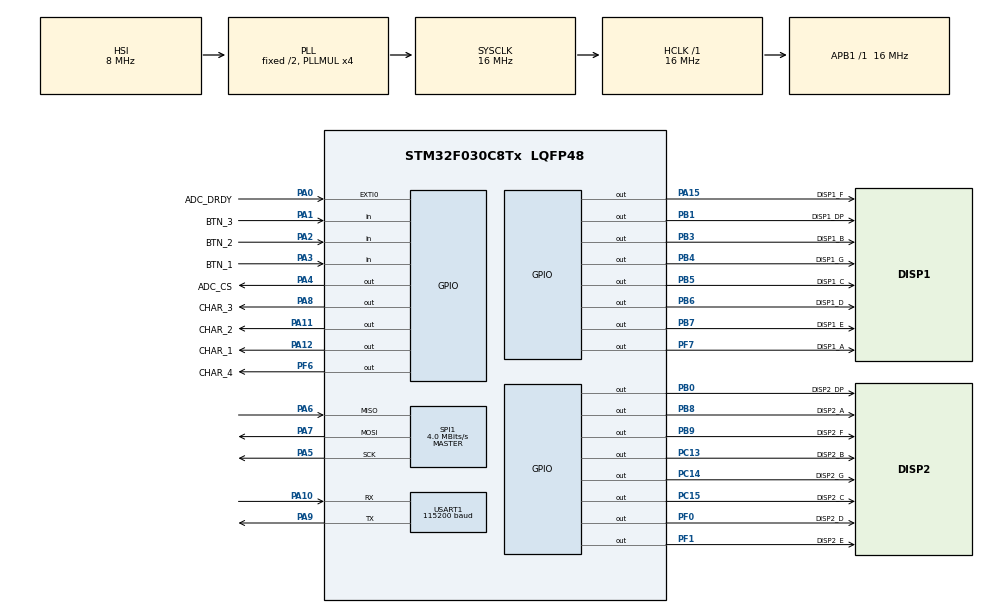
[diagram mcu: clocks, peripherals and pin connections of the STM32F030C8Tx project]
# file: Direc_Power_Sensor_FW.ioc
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Dma.Request0=USART1_RX
Dma.USART1_RX.0.Direction=DMA_PERIPH_TO_MEMORY
Dma.USART1_RX.0.Instance=DMA1_Channel3
Dma.USART1_RX.0.MemDataAlignment=DMA_MDATAALIGN_BYTE
Dma.USART1_RX.0.MemInc=DMA_MINC_ENABLE
Dma.USART1_RX.0.Mode=DMA_NORMAL
Dma.USART1_RX.0.PeriphDataAlignment=DMA_PDATAALIGN_BYTE
Dma.USART1_RX.0.PeriphInc=DMA_PINC_DISABLE
Dma.USART1_RX.0.Priority=DMA_PRIORITY_LOW
Mcu.Family=STM32F0
Mcu.Name=STM32F030C8Tx
Mcu.Package=LQFP48
NVIC.DMA1_Channel2_3_IRQn=true\:0\:0\:false\:false\:true\:false\:true\:true
NVIC.EXTI0_1_IRQn=true\:0\:0\:false\:false\:true\:true\:true\:true
NVIC.TIM1_BRK_UP_TRG_COM_IRQn=true\:0\:0\:false\:false\:true\:true\:true\:true
NVIC.TIM1_CC_IRQn=true\:0\:0\:false\:false\:true\:true\:true\:true
NVIC.USART1_IRQn=true\:0\:0\:false\:false\:true\:true\:true\:true
PA0.GPIO_Label=ADC_DRDY
PA0.GPIO_PuPd=GPIO_PULLUP
PA0.Signal=GPXTI0
PA1.GPIO_Label=BTN_3
PA1.GPIO_PuPd=GPIO_PULLDOWN
PA1.Signal=GPIO_Input
PA10.Mode=Asynchronous
PA10.Signal=USART1_RX
PA11.GPIO_Label=CHAR_2
PA11.Signal=GPIO_Output
PA12.GPIO_Label=CHAR_1
PA12.Signal=GPIO_Output
PA13.Mode=Serial_Wire
PA13.Signal=SYS_SWDIO
PA14.Mode=Serial_Wire
PA14.Signal=SYS_SWCLK
PA15.GPIO_Label=DISP1_F
PA15.Signal=GPIO_Output
PA2.GPIO_Label=BTN_2
PA2.GPIO_PuPd=GPIO_PULLDOWN
PA2.Signal=GPIO_Input
PA3.GPIO_Label=BTN_1
PA3.GPIO_PuPd=GPIO_PULLDOWN
PA3.Signal=GPIO_Input
PA4.GPIO_Label=ADC_CS
PA4.GPIO_Speed=GPIO_SPEED_FREQ_LOW
PA4.Signal=GPIO_Output
PA5.Mode=Full_Duplex_Master
PA5.Signal=SPI1_SCK
PA6.Mode=Full_Duplex_Master
PA6.Signal=SPI1_MISO
PA7.Mode=Full_Duplex_Master
PA7.Signal=SPI1_MOSI
PA8.GPIO_Label=CHAR_3
PA8.Signal=GPIO_Output
PA9.Mode=Asynchronous
PA9.Signal=USART1_TX
PB0.GPIO_Label=DISP2_DP
PB0.Signal=GPIO_Output
PB1.GPIO_Label=DISP1_DP
PB1.Signal=GPIO_Output
PB3.GPIO_Label=DISP1_B
PB3.Signal=GPIO_Output
PB4.GPIO_Label=DISP1_G
PB4.Signal=GPIO_Output
PB5.GPIO_Label=DISP1_C
PB5.Signal=GPIO_Output
PB6.GPIO_Label=DISP1_D
PB6.Signal=GPIO_Output
PB7.GPIO_Label=DISP1_E
PB7.Signal=GPIO_Output
PB8.GPIO_Label=DISP2_A
PB8.Signal=GPIO_Output
PB9.GPIO_Label=DISP2_F
PB9.Signal=GPIO_Output
PC13.GPIO_Label=DISP2_B
PC13.Signal=GPIO_Output
PC14-OSC32_IN.GPIO_Label=DISP2_G
PC14-OSC32_IN.Signal=GPIO_Output
PC15-OSC32_OUT.GPIO_Label=DISP2_C
PC15-OSC32_OUT.Signal=GPIO_Output
PF0-OSC_IN.GPIO_Label=DISP2_D
PF0-OSC_IN.Signal=GPIO_Output
PF1-OSC_OUT.GPIO_Label=DISP2_E
PF1-OSC_OUT.Signal=GPIO_Output
PF6.GPIO_Label=CHAR_4
PF6.Signal=GPIO_Output
PF7.GPIO_Label=DISP1_A
PF7.Signal=GPIO_Output
ProjectManager.HeapSize=0x200
ProjectManager.StackSize=0x400
ProjectManager.TargetToolchain=Makefile
RCC.AHBFreq_Value=16000000
RCC.APB1Freq_Value=16000000
RCC.APB1TimFreq_Value=16000000
RCC.HCLKFreq_Value=16000000
RCC.PLLMUL=RCC_PLL_MUL4
RCC.SYSCLKFreq_VALUE=16000000
RCC.SYSCLKSource=RCC_SYSCLKSOURCE_PLLCLK
SPI1.BaudRatePrescaler=SPI_BAUDRATEPRESCALER_4
SPI1.CalculateBaudRate=4.0 MBits/s
SPI1.DataSize=SPI_DATASIZE_8BIT
SPI1.Direction=SPI_DIRECTION_2LINES
SPI1.Mode=SPI_MODE_MASTER
SPI1.VirtualType=VM_MASTER
TIM1.Period=319
USART1.BaudRate=115200
USART1.VirtualMode-Asynchronous=VM_ASYNC
VP_TIM1_VS_ClockSourceINT.Mode=Internal
board=custom

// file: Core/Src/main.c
/* USER CODE BEGIN Header */
/**
  ******************************************************************************
  * @file           : main.c
  * @brief          : Main program body
  ******************************************************************************
  * @attention
  *
  * Copyright (c) 2025 STMicroelectronics.
  * All rights reserved.
  *
  * This software is licensed under terms that can be found in the LICENSE file
  * in the root directory of this software component.
  * If no LICENSE file comes with this software, it is provided AS-IS.
  *
  ******************************************************************************
  */
/* USER CODE END Header */
#include "main.h"
#include "dma.h"
#include "spi.h"
#include "tim.h"
#include "usart.h"
#include "gpio.h"

/* USER CODE BEGIN Includes */
#include "ads1220.h"
#include "ee.h"
#include "eeConfig.h"
#include "printf.h"
#include <stdbool.h>
#include <stdlib.h>
#include <string.h>
/* USER CODE END Includes */

/* USER CODE BEGIN PTD */

typedef struct cal_point_struct {
  float reading;
  float value;
} CalPoint_t;

enum cal_state_enum {
  CAL_DEFAULT,
  CAL_IN_PROGRESS,
  CAL_GOOD
};

/* USER CODE END PTD */

/* USER CODE BEGIN PD */

#define DISP_CHAR_COUNT     4
#define DISP_STR_LEN        5

#define RNG_SEL_LOW         0
#define RNG_SEL_HIGH        1

#define RFL_PWR_LO_RNG_MUX  ADS1220_MUX_P0_NVSS
#define RFL_PWR_HI_RNG_MUX  ADS1220_MUX_P1_NVSS
#define FWD_PWR_LO_RNG_MUX  ADS1220_MUX_P2_NVSS
#define FWD_PWR_HI_RNG_MUX  ADS1220_MUX_P3_NVSS

#define ADC_INIT_MUX_SET    RFL_PWR_LO_RNG_MUX

/* Set up for 20 SPS, which allows the 50/60 Hz FIR filter to be used */
#define ADC_INIT_CONFIG   \
  ((ADC_INIT_MUX_SET << 24) | \
  ((ADS1220_MODE_NORMAL | ADS1220_DR_0) << 16) | \
  (ADS1220_VREF_EXT << 8) | (ADS1220_FIR_50_60))

#define VREF_IDEAL          4.096

#define ADC_RDG_MAX         3.85
#define RNG_SEL_HYST        0.05
#define CAL_POINTS          26
#define FLASH_FLAG          0xA5A5A5A5
#define UART_RX_WORD_SIZE   4
#define UART_BEGIN_CAL      0x12345678
#define UART_CAL_FWD_LO     0x11111111
#define UART_CAL_FWD_HI     0x22222222
#define UART_CAL_RFL_LO     0x33333333
#define UART_CAL_RFL_HI     0x44444444
#define UART_SAVE_CAL       0xDEADBEEF
/* USER CODE END PD */

/* USER CODE BEGIN PV */

static const uint8_t seven_seg_lut[12][7] = {
  {1,1,1,1,1,1,0}, // 0
  {0,1,1,0,0,0,0}, // 1
  {1,1,0,1,1,0,1}, // 2
  {1,1,1,1,0,0,1}, // 3
  {0,1,1,0,0,1,1}, // 4
  {1,0,1,1,0,1,1}, // 5
  {1,0,1,1,1,1,1}, // 6
  {1,1,1,0,0,0,0}, // 7
  {1,1,1,1,1,1,1}, // 8
  {1,1,1,1,0,1,1}, // 9
  {0,0,0,0,0,0,0}, // blank
  {0,0,0,0,0,0,1}  // -
};

uint8_t disp_char_sel = 0;
uint8_t disp1_str_ind = 0;
uint8_t disp2_str_ind = 0;
uint8_t disp_1_str[DISP_STR_LEN + 1] = {};
uint8_t disp_2_str[DISP_STR_LEN + 1] = {};
uint8_t disp_1_values[DISP_CHAR_COUNT] = {0};
uint8_t disp_2_values[DISP_CHAR_COUNT] = {0};
bool update_disp_vals = false;

Ads1220_t adc;
bool adc_drdy_flag = false;
uint8_t last_adc_mux = ADC_INIT_MUX_SET;
uint8_t fwd_rng_sel = RNG_SEL_LOW;
uint8_t rfl_rng_sel = RNG_SEL_LOW;
float fwd_hi_det_offset = 0.02;
float fwd_lo_det_offset = 0.02;
float rfl_hi_det_offset = 0.02;
float rfl_lo_det_offset = 0.02;

uint8_t cal_state = CAL_DEFAULT;
int cal_step = 0;
CalPoint_t cal_data_tmp[CAL_POINTS];
CalPoint_t fwd_hi_rng_cal[CAL_POINTS];
CalPoint_t fwd_lo_rng_cal[CAL_POINTS];
CalPoint_t rfl_hi_rng_cal[CAL_POINTS];
CalPoint_t rfl_lo_rng_cal[CAL_POINTS];
uint8_t uart_data[UART_RX_WORD_SIZE];

float fwd_hi_rng_v = 0.0;
float fwd_lo_rng_v = 0.0;
float rfl_hi_rng_v = 0.0;
float rfl_lo_rng_v = 0.0;
float fwd_pwr = 0.0;
float rfl_pwr = 0.0;
float vswr = 0.0;
float dir_coupler_factor = 900.0; // 30 turns, 29.54...dB

/* USER CODE END PV */

void SystemClock_Config(void);
/* USER CODE BEGIN PFP */

void set_adc_cs(int state);
void set_disp_1_pins(int value, bool dp_on);
void set_disp_2_pins(int value, bool dp_on);
void select_disp_char(int sel);
float get_cal_power(float value, CalPoint_t* cal_data);

/* USER CODE END PFP */

int main(void)
{

  /* MCU Configuration--------------------------------------------------------*/

  /* Reset of all peripherals, Initializes the Flash interface and the Systick. */
  HAL_Init();

  /* Configure the system clock */
  SystemClock_Config();

  /* Initialize all configured peripherals */
  MX_GPIO_Init();
  MX_DMA_Init();
  MX_SPI1_Init();
  MX_USART1_UART_Init();
  MX_TIM1_Init();
  /* USER CODE BEGIN 2 */

  // init pins to stable state
  HAL_GPIO_WritePin(ADC_CS_GPIO_Port, ADC_CS_Pin, 1);

  HAL_GPIO_WritePin(CHAR_1_GPIO_Port, CHAR_1_Pin, 0);
  HAL_GPIO_WritePin(CHAR_2_GPIO_Port, CHAR_2_Pin, 0);
  HAL_GPIO_WritePin(CHAR_3_GPIO_Port, CHAR_3_Pin, 0);
  HAL_GPIO_WritePin(CHAR_4_GPIO_Port, CHAR_4_Pin, 0);

  /* See if flash has data in it. */
  ee_init();
  uint32_t flag = 0;
  uint32_t addr = 0;
  ee_read(addr, 4, (uint8_t*)&flag);
  if (flag == FLASH_FLAG) {
    /* Retrieve calibration from flash */

    cal_state = CAL_GOOD;
  } else {
    /* write some default calibration values to ram */
    float voltage = 0.0;
    float v_step = ADC_RDG_MAX / (CAL_POINTS - 1);
    for (int i = 0; i < CAL_POINTS; i++) {
      float power_tmp = 0.2579*voltage + 2.064e-4;
      fwd_lo_rng_cal[i].reading = voltage;
      fwd_lo_rng_cal[i].value = power_tmp;
      rfl_lo_rng_cal[i].reading = voltage;
      rfl_lo_rng_cal[i].value = power_tmp;
      voltage += 0.15;
    }
    voltage = 0.0;
    for (int i = 0; i < CAL_POINTS; i++) {
      float power_tmp = 29.71*voltage + 6.962e-2;
      fwd_hi_rng_cal[i].reading = voltage;
      fwd_hi_rng_cal[i].value = power_tmp;
      rfl_hi_rng_cal[i].reading = voltage;
      rfl_hi_rng_cal[i].value = power_tmp;
      voltage += 0.15;
    }
  }

  // ADC setup
  adc.vref = VREF_IDEAL;
  adc.hspi = &hspi1;
  adc.set_cs = set_adc_cs;
  ads_reset(&adc);
  HAL_Delay(10);
  ads_begin(&adc, ADC_INIT_CONFIG);
  HAL_Delay(2);
  ads_start_sync(&adc);

  HAL_TIM_Base_Start_IT(&htim1); // timer for flipping through the display characters

  HAL_UART_Receive_DMA(&huart1, uart_data, UART_RX_WORD_SIZE);

  /* USER CODE END 2 */

  /* Infinite loop */
  while (1)
  {

    /* USER CODE BEGIN 3 */

    if (adc_drdy_flag) {
      adc_drdy_flag = false;
      float adc_rdg = ads_get_voltage(&adc);

      uint8_t next_adc_mux = 0;
      switch(adc.mux_setting) {
        default: {
          next_adc_mux = ADC_INIT_MUX_SET;
          break;
        }
        case FWD_PWR_LO_RNG_MUX: {
          fwd_lo_rng_v = adc_rdg;
          next_adc_mux = FWD_PWR_HI_RNG_MUX;
          break;
        }
        case FWD_PWR_HI_RNG_MUX: {
          fwd_hi_rng_v = adc_rdg;
          next_adc_mux = RFL_PWR_LO_RNG_MUX;
          break;
        }
        case RFL_PWR_LO_RNG_MUX: {
          rfl_lo_rng_v = adc_rdg;
          next_adc_mux = RFL_PWR_HI_RNG_MUX;
          break;
        }
        case RFL_PWR_HI_RNG_MUX: {
          rfl_hi_rng_v = adc_rdg;
          update_disp_vals = true;
          next_adc_mux = FWD_PWR_LO_RNG_MUX;
          break;
        }
      }
      ads_set_input_mux(&adc, next_adc_mux);
      ads_start_sync(&adc);

      if (update_disp_vals) {
        // make decisions on which range to use for power computations
        if (fwd_rng_sel == RNG_SEL_LOW && fwd_lo_rng_v > (ADC_RDG_MAX + RNG_SEL_HYST)) {
          fwd_rng_sel = RNG_SEL_HIGH;
        }
        else if (fwd_rng_sel == RNG_SEL_HIGH && fwd_lo_rng_v < (ADC_RDG_MAX - RNG_SEL_HYST)) {
          fwd_rng_sel = RNG_SEL_LOW;
        }

        if (fwd_rng_sel == RNG_SEL_LOW) {
          fwd_pwr = dir_coupler_factor * get_cal_power(fwd_lo_rng_v - fwd_lo_det_offset, fwd_lo_rng_cal);
        }
        else {
          fwd_pwr = dir_coupler_factor * get_cal_power(fwd_hi_rng_v - fwd_hi_det_offset, fwd_hi_rng_cal);
        }

        // TODO: compute power and VSWR
        static char scratch[16];
        snprintf(scratch, 16, "%05.2f", fwd_pwr);
        update_disp_vals = false;
      }
    }

  }

  /* USER CODE END 3 */
}

void SystemClock_Config(void)
{
  RCC_OscInitTypeDef RCC_OscInitStruct = {0};
  RCC_ClkInitTypeDef RCC_ClkInitStruct = {0};
  RCC_PeriphCLKInitTypeDef PeriphClkInit = {0};

  /** Initializes the RCC Oscillators according to the specified parameters
  * in the RCC_OscInitTypeDef structure.
  */
  RCC_OscInitStruct.OscillatorType = RCC_OSCILLATORTYPE_HSI;
  RCC_OscInitStruct.HSIState = RCC_HSI_ON;
  RCC_OscInitStruct.HSICalibrationValue = RCC_HSICALIBRATION_DEFAULT;
  RCC_OscInitStruct.PLL.PLLState = RCC_PLL_ON;
  RCC_OscInitStruct.PLL.PLLSource = RCC_PLLSOURCE_HSI;
  RCC_OscInitStruct.PLL.PLLMUL = RCC_PLL_MUL4;
  RCC_OscInitStruct.PLL.PREDIV = RCC_PREDIV_DIV1;
  if (HAL_RCC_OscConfig(&RCC_OscInitStruct) != HAL_OK)
  {
    Error_Handler();
  }

  /** Initializes the CPU, AHB and APB buses clocks
  */
  RCC_ClkInitStruct.ClockType = RCC_CLOCKTYPE_HCLK|RCC_CLOCKTYPE_SYSCLK
                              |RCC_CLOCKTYPE_PCLK1;
  RCC_ClkInitStruct.SYSCLKSource = RCC_SYSCLKSOURCE_PLLCLK;
  RCC_ClkInitStruct.AHBCLKDivider = RCC_SYSCLK_DIV1;
  RCC_ClkInitStruct.APB1CLKDivider = RCC_HCLK_DIV1;

  if (HAL_RCC_ClockConfig(&RCC_ClkInitStruct, FLASH_LATENCY_0) != HAL_OK)
  {
    Error_Handler();
  }
  PeriphClkInit.PeriphClockSelection = RCC_PERIPHCLK_USART1;
  PeriphClkInit.Usart1ClockSelection = RCC_USART1CLKSOURCE_PCLK1;
  if (HAL_RCCEx_PeriphCLKConfig(&PeriphClkInit) != HAL_OK)
  {
    Error_Handler();
  }
}

/* USER CODE BEGIN 4 */

void set_adc_cs(int state) {
  HAL_GPIO_WritePin(ADC_CS_GPIO_Port, ADC_CS_Pin, state & 1);
}

void set_disp_1_pins(int value, bool dp_on) {
  if (value == ('-' - 48)) {
    value = 11; // LUT index of the hyphen
  }  else if (value >= 12 || value < 0) {
    value = 10; // blank
  }

  uint8_t* segment = seven_seg_lut[value];
  HAL_GPIO_WritePin(DISP1_A_GPIO_Port, DISP1_A_Pin, segment[0]);
  HAL_GPIO_WritePin(DISP1_B_GPIO_Port, DISP1_B_Pin, segment[1]);
  HAL_GPIO_WritePin(DISP1_C_GPIO_Port, DISP1_C_Pin, segment[2]);
  HAL_GPIO_WritePin(DISP1_D_GPIO_Port, DISP1_D_Pin, segment[3]);
  HAL_GPIO_WritePin(DISP1_E_GPIO_Port, DISP1_E_Pin, segment[4]);
  HAL_GPIO_WritePin(DISP1_F_GPIO_Port, DISP1_F_Pin, segment[5]);
  HAL_GPIO_WritePin(DISP1_G_GPIO_Port, DISP1_G_Pin, segment[6]);
  HAL_GPIO_WritePin(DISP1_DP_GPIO_Port, DISP1_DP_Pin, dp_on);
}

void set_disp_2_pins(int value, bool dp_on) {
  if (value == ('-' - 48)) {
    value = 11; // LUT index of the hyphen
  }  else if (value >= 12 || value < 0) {
    value = 10; // blank
  }

  uint8_t* segment = seven_seg_lut[value];
  HAL_GPIO_WritePin(DISP2_A_GPIO_Port, DISP2_A_Pin, segment[0]);
  HAL_GPIO_WritePin(DISP2_B_GPIO_Port, DISP2_B_Pin, segment[1]);
  HAL_GPIO_WritePin(DISP2_C_GPIO_Port, DISP2_C_Pin, segment[2]);
  HAL_GPIO_WritePin(DISP2_D_GPIO_Port, DISP2_D_Pin, segment[3]);
  HAL_GPIO_WritePin(DISP2_E_GPIO_Port, DISP2_E_Pin, segment[4]);
  HAL_GPIO_WritePin(DISP2_F_GPIO_Port, DISP2_F_Pin, segment[5]);
  HAL_GPIO_WritePin(DISP2_G_GPIO_Port, DISP2_G_Pin, segment[6]);
  HAL_GPIO_WritePin(DISP2_DP_GPIO_Port, DISP2_DP_Pin, dp_on);
}

/**
 * Select which character of the displays to turn on. A value outside 0
 * through 3 will disable all displays
 */
void select_disp_char(int sel) {
  uint8_t bits = 0;
  if (sel >= 0 && sel < DISP_CHAR_COUNT) {
    bits = (1 << sel);
  }
  HAL_GPIO_WritePin(CHAR_1_GPIO_Port, CHAR_1_Pin, (bits >> 0) & 1);
  HAL_GPIO_WritePin(CHAR_2_GPIO_Port, CHAR_2_Pin, (bits >> 1) & 1);
  HAL_GPIO_WritePin(CHAR_3_GPIO_Port, CHAR_3_Pin, (bits >> 2) & 1);
  HAL_GPIO_WritePin(CHAR_4_GPIO_Port, CHAR_4_Pin, (bits >> 3) & 1);
}

/**
 * Calculate power based on the provided voltage value and calibration data.
 */
float get_cal_power(float rdg, CalPoint_t* cal_data) {
  int upper = CAL_POINTS;
  int lower = 0;
  int i;
  CalPoint_t* a;
  CalPoint_t* b;
  bool found = false;
  while (!found) {
    i = (int)((upper - lower) / 2) + lower;

    if (i <= 1) {
      break;
    }
    a = cal_data + (i - 1);
    b = cal_data + i;
    found = ((rdg > a->reading) && (rdg <= b->reading));
    if (!found) {
      if (rdg <= a->reading) {
        // shift search range down
        upper = i;
      }
      else if (rdg > b->reading) {
        // shift search range up
        lower = i;
      }
    }
  }
  float slope = (b->value - a->value)/(b->reading - a->reading);
  return a->value + (slope * (rdg - a->reading));
}

/**
 * My implementation of timer callback
 */
void HAL_TIM_PeriodElapsedCallback(TIM_HandleTypeDef *htim) {

  char disp1_char = disp_1_str[disp1_str_ind];
  disp1_str_ind++;
  bool disp1_dp_on = false;
  if (disp_1_str[disp1_str_ind] == '.') {
    disp1_dp_on = true;
    disp1_str_ind++; // ensure next time, we're pointing at a character rather than a decimal point
  }

  char disp2_char = disp_2_str[disp2_str_ind];
  disp2_str_ind++;
  bool disp2_dp_on = false;
  if (disp_2_str[disp2_str_ind] == '.') {
    disp2_dp_on = true;
    disp2_str_ind++; // ensure next time, we're pointing at a character rather than a decimal point
  }

  select_disp_char(-1);
  set_disp_1_pins(disp1_char, disp1_dp_on);
  set_disp_2_pins(disp2_char, disp2_dp_on);
  select_disp_char(disp_char_sel);

  disp_char_sel++;
  if (disp_char_sel >= DISP_CHAR_COUNT) {
    disp_char_sel = 0;
  }
}

/**
 * My implementation of gpio interrupt callback
 */
void HAL_GPIO_EXTI_Callback(uint16_t GPIO_Pin) {
  if (GPIO_Pin == ADC_DRDY_Pin) {
    adc_drdy_flag = true;
  }
}

/**
 * what to do when we've received a word of data
 */
void HAL_UART_RxCpltCallback(UART_HandleTypeDef *huart) {
  uint32_t rx_word = 0;
  memcpy((uint8_t*)&rx_word, uart_data, UART_RX_WORD_SIZE);

  if (cal_state != CAL_IN_PROGRESS && rx_word == UART_BEGIN_CAL) {

    cal_step = 0;
    cal_state = CAL_IN_PROGRESS;

  } else if (cal_state == CAL_IN_PROGRESS) {
    if(rx_word == UART_SAVE_CAL) {
      /* TODO save calibration to flash */

      cal_state = CAL_GOOD;
    }
    else {
      /* no other match, so this must be calibration data */
      CalPoint_t* cal = NULL;
      int cal_ind = 0;
      float reading = 0.0;
      if (cal_step < CAL_POINTS) {
        /* calibrating FWD_LO_RNG */
        cal = fwd_lo_rng_cal;
        cal_ind = cal_step;
        reading = fwd_lo_rng_v; // whatever the last value was
      }
      else if (cal_step < 2*CAL_POINTS) {
        /* calibrating FWD_HI_RNG */
        cal = fwd_hi_rng_cal;
        cal_ind = cal_step - CAL_POINTS;
        reading = fwd_hi_rng_v; // whatever the last value was
      }
      else if (cal_step < 3*CAL_POINTS) {
        /* calibrating RFL_LO_RNG */
        cal = rfl_lo_rng_cal;
        cal_ind = cal_step - 2*CAL_POINTS;
        reading = rfl_lo_rng_v; // whatever the last value was
      }
      else if (cal_step < 4*CAL_POINTS) {
        /* calibrating RFL_HI_RNG */
        cal = rfl_hi_rng_cal;
        cal_ind = cal_step - 3*CAL_POINTS;
        reading = rfl_hi_rng_v; // whatever the last value was
      }
      cal_step++;

      if (cal_step >= 4*CAL_POINTS) {
        cal_step = 0;
      }

      if (cal != NULL) {
        cal[cal_ind].reading = reading;
        float value = 0.0;
        memcpy(&value, uart_data, sizeof(value));
        cal[cal_ind].value = value;
      }
    }
  }

  HAL_UART_Receive_DMA(&huart1, uart_data, UART_RX_WORD_SIZE);
}

/* USER CODE END 4 */

void Error_Handler(void)
{
  __disable_irq();
  while (1)
  {
  }
}
